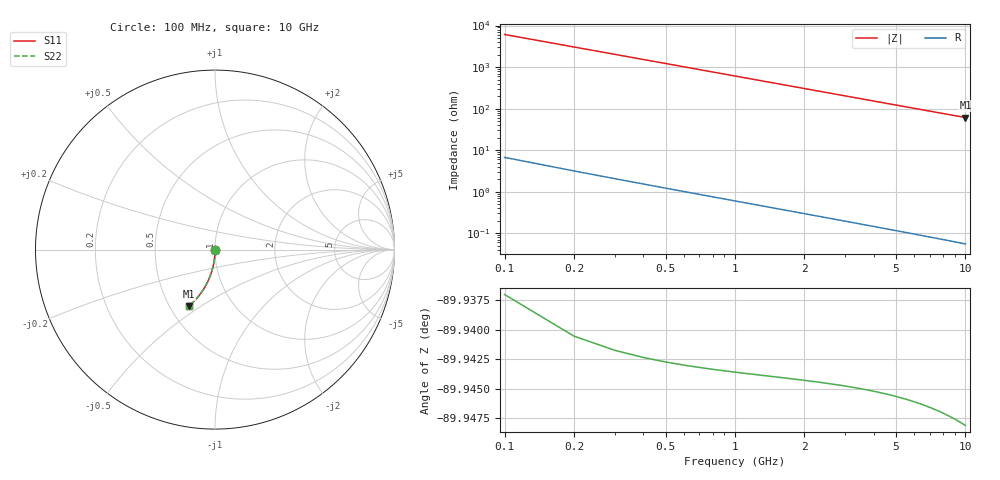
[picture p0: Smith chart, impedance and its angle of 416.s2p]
# Hz S RI R 50.00
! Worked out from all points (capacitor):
!   100 points, 100 MHz to 10 GHz, reference 50 ohm
!   read as one part in shunt: C = 261 fF near 100 MHz
!   lowest |Z| = 61.1 ohm at 10 GHz (marker M1)
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1e8  0.000176 -0.00372  0.9998 -0.00449  0.9998 -0.00449  0.000176 -0.00372
2e8  0.000123 -0.00743  0.9997 -0.00898  0.9997 -0.00898  0.000123 -0.00743
3e8  3.67e-05 -0.0111  0.9996 -0.0135  0.9996 -0.0135  3.67e-05 -0.0111
4e8  -8.33e-05 -0.0149  0.9995 -0.018  0.9995 -0.018  -8.33e-05 -0.0149
5e8  -0.000237 -0.0186  0.9994 -0.0225  0.9994 -0.0225  -0.000237 -0.0186
6e8  -0.000424 -0.0223  0.9992 -0.0269  0.9992 -0.0269  -0.000424 -0.0223
7e8  -0.000644 -0.026  0.9989 -0.0314  0.9989 -0.0314  -0.000644 -0.026
8e8  -0.000898 -0.0297  0.9987 -0.0359  0.9987 -0.0359  -0.000898 -0.0297
9e8  -0.00118 -0.0334  0.9984 -0.0404  0.9984 -0.0404  -0.00118 -0.0334
1.1e9  -0.00186 -0.0408  0.9977 -0.0493  0.9977 -0.0493  -0.00186 -0.0408
1.4e9  -0.00312 -0.0519  0.9964 -0.0627  0.9964 -0.0627  -0.00312 -0.0519
1.8e9  -0.00525 -0.0666  0.9942 -0.0805  0.9942 -0.0805  -0.00525 -0.0666
2.1e9  -0.0072 -0.0775  0.9923 -0.0938  0.9923 -0.0938  -0.0072 -0.0775
2.5e9  -0.0102 -0.092  0.9891 -0.1114  0.9891 -0.1114  -0.0102 -0.092
2.9e9  -0.0138 -0.1063  0.9855 -0.1288  0.9855 -0.1288  -0.0138 -0.1063
3.4e9  -0.0189 -0.124  0.9803 -0.1504  0.9803 -0.1504  -0.0189 -0.124
4.2e9  -0.0287 -0.1516  0.9703 -0.1842  0.9703 -0.1842  -0.0287 -0.1516
5.1e9  -0.0419 -0.1815  0.9568 -0.2212  0.9568 -0.2212  -0.0419 -0.1815
5.9e9  -0.0555 -0.2069  0.943 -0.2529  0.943 -0.2529  -0.0555 -0.2069
6.7e9  -0.0706 -0.2311  0.9276 -0.2833  0.9276 -0.2833  -0.0706 -0.2311
8.4e9  -0.1072 -0.2777  0.8902 -0.3434  0.8902 -0.3434  -0.1072 -0.2777
1e10  -0.1461 -0.3153  0.8503 -0.3937  0.8503 -0.3937  -0.1461 -0.3153
